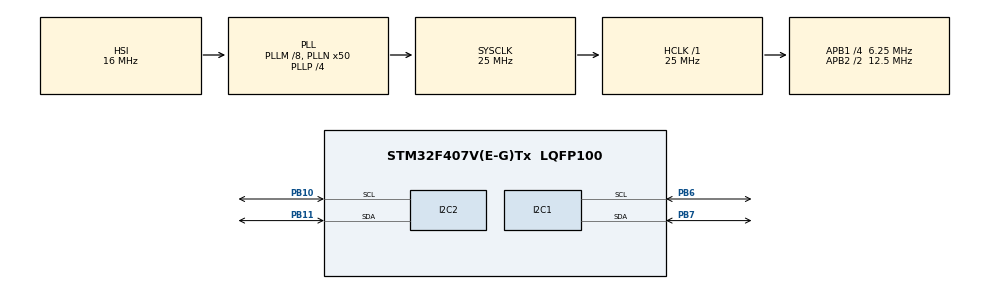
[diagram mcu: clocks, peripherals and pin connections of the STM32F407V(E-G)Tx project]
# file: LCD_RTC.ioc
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Mcu.Family=STM32F4
Mcu.Name=STM32F407V(E-G)Tx
Mcu.Package=LQFP100
NVIC.PriorityGroup=NVIC_PRIORITYGROUP_0
PB10.Mode=I2C
PB10.Signal=I2C2_SCL
PB11.Mode=I2C
PB11.Signal=I2C2_SDA
PB6.Mode=I2C
PB6.Signal=I2C1_SCL
PB7.Mode=I2C
PB7.Signal=I2C1_SDA
ProjectManager.HeapSize=0x200
ProjectManager.StackSize=0x400
ProjectManager.TargetToolchain=STM32CubeIDE
RCC.48MHZClocksFreq_Value=14285714.285714285
RCC.AHBFreq_Value=25000000
RCC.APB1CLKDivider=RCC_HCLK_DIV4
RCC.APB1Freq_Value=6250000
RCC.APB1TimFreq_Value=12500000
RCC.APB2CLKDivider=RCC_HCLK_DIV2
RCC.APB2Freq_Value=12500000
RCC.APB2TimFreq_Value=25000000
RCC.CortexFreq_Value=25000000
RCC.HCLKFreq_Value=25000000
RCC.HSE_VALUE=8000000
RCC.HSI_VALUE=16000000
RCC.LSE_VALUE=32768
RCC.PLLM=8
RCC.PLLN=50
RCC.PLLP=RCC_PLLP_DIV4
RCC.PLLQ=7
RCC.SYSCLKFreq_VALUE=25000000
RCC.SYSCLKSource=RCC_SYSCLKSOURCE_PLLCLK
RCC.VCOOutputFreq_Value=100000000
board=STM32F407G-DISC1

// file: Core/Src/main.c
/* USER CODE BEGIN Header */
/**
  ******************************************************************************
  * @file           : main.c
  * @brief          : Main program body
  ******************************************************************************
  * @attention
  *
  * Copyright (c) 2025 STMicroelectronics.
  * All rights reserved.
  *
  * This software is licensed under terms that can be found in the LICENSE file
  * in the root directory of this software component.
  * If no LICENSE file comes with this software, it is provided AS-IS.
  *
  ******************************************************************************
  */
/* USER CODE END Header */
#include "main.h"

/* USER CODE BEGIN Includes */
#include <stdbool.h>
/* USER CODE END Includes */

/* USER CODE BEGIN PD */
#define DS3231_ADDRESS 0xD0
/* USER CODE END PD */

I2C_HandleTypeDef hi2c1;
I2C_HandleTypeDef hi2c2;

/* USER CODE BEGIN PV */
int seconds,minutes,hour;
int flag = 1;
char array[3],array1[3],array2[3];
bool isTimerPrinted = false;
/* USER CODE END PV */

void SystemClock_Config(void);
static void MX_GPIO_Init(void);
static void MX_I2C1_Init(void);
static void MX_I2C2_Init(void);
/* USER CODE BEGIN PFP */
void cmd_i2c(uint8_t);
void data_i2c(uint8_t);
void data(char *);
void DS3231_GetRegByte();
/* USER CODE END PFP */

/* USER CODE BEGIN 0 */
void cmd_i2c(uint8_t cmd)
{
	uint8_t d1 = (cmd & 0xF0) | 0x0C;  // RS=0, RW=0, E=1
	uint8_t d2 = (cmd & 0xF0) | 0x08;  // RS=0, RW=0, E=0
	uint8_t Timeout = 100;

	HAL_I2C_Master_Transmit(&hi2c1, 0x4E, &d1, 1, Timeout);
	HAL_Delay(2);
	HAL_I2C_Master_Transmit(&hi2c1, 0x4E, &d2, 1, Timeout);

	uint8_t d3 = ((cmd << 4) & 0xF0) | 0x0C;  // RS=0, RW=0, E=1
	uint8_t d4 = ((cmd << 4) & 0xF0) | 0x08;  // RS=0, RW=0, E=0

	HAL_I2C_Master_Transmit(&hi2c1, 0x4E, &d3, 1, Timeout);
	HAL_Delay(2);
	HAL_I2C_Master_Transmit(&hi2c1, 0x4E, &d4, 1, Timeout);

}
void data_i2c( uint8_t data)
{
	uint8_t d1 = (data & 0xF0) | 0x0D;  // RS=1, RW=0, E=1
	uint8_t d2 = (data & 0xF0) | 0x09;  // RS=1, RW=0, E=0
	uint8_t Timeout = 100;

	HAL_I2C_Master_Transmit(&hi2c1, 0x4E, &d1, 1, Timeout);
	HAL_Delay(2);
	HAL_I2C_Master_Transmit(&hi2c1, 0x4E, &d2, 1, Timeout);

	uint8_t d3 = ((data << 4) & 0xF0) | 0x0D;  // RS=1, RW=0, E=1
	uint8_t d4 = ((data << 4) & 0xF0) | 0x09;  // RS=1, RW=0, E=0
	HAL_I2C_Master_Transmit(&hi2c1, 0x4E, &d3, 1, Timeout);
	HAL_Delay(2);
	HAL_I2C_Master_Transmit(&hi2c1, 0x4E, &d4, 1, Timeout);
}
void data(char *s)
{
	while(*s |= '\0')
	{

	    data_i2c(*s);
		s++;
	}
}
/* USER CODE END 0 */

int main(void)
{

  /* USER CODE BEGIN 1 */
	uint8_t decToBcd(int val)
	{
		return (uint8_t)( (val/10*16) + (val%10) );
    }
	// Convert binary coded decimal to normal decimal numbers
	int bcdToDec(uint8_t val)
	{
		 return (int)( (val/16*10) + (val%16) );
	}

	void Set_Time (uint8_t sec, uint8_t min, uint8_t hour)
	{
		uint8_t set_time[7];
		set_time[0] = decToBcd(sec);
		set_time[1] = decToBcd(min);
		set_time[2] = decToBcd(hour);
		HAL_I2C_Mem_Write(&hi2c2, DS3231_ADDRESS, 0x00, 1, set_time, 7, 100);
	}

	void Get_Time (void)
	{
		uint8_t get_time[3];
		HAL_I2C_Mem_Read(&hi2c2, DS3231_ADDRESS, 0x00, 1, get_time, 7, 100);
		seconds = bcdToDec(get_time[0]);
		minutes = bcdToDec(get_time[1]);
		hour = bcdToDec(get_time[2]);
	}
  /* USER CODE END 1 */

  /* MCU Configuration--------------------------------------------------------*/

  /* Reset of all peripherals, Initializes the Flash interface and the Systick. */
  HAL_Init();

  /* Configure the system clock */
  SystemClock_Config();

  /* Initialize all configured peripherals */
  MX_GPIO_Init();
  MX_I2C1_Init();
  MX_I2C2_Init();
  /* USER CODE BEGIN 2 */
  Set_Time(57, 41, 14);
  cmd_i2c(0x02);
  cmd_i2c(0x28);
  cmd_i2c(0x0E);
  cmd_i2c(0x01);
  cmd_i2c(0x80);
  //cmd_i2c(0xC0);
  /* USER CODE END 2 */

  /* Infinite loop */
  /* USER CODE BEGIN WHILE */
  while (1)
  {
	  Get_Time();
	  cmd_i2c(0x80);
	  array[0] = ((hour/10)+'0');
	  array[1] = ((hour%10)+'0');
	  array[2] = '\0';
	  data(array);
	  data(":");
	  array1[0] = ((minutes/10)+'0');
	  array1[1] = ((minutes%10)+'0');
	  array1[2] = '\0';
	  data(array1);
	  data(":");
	  array2[0] = ((seconds/10)+'0');
	  array2[1] = ((seconds%10)+'0');
	  array2[2] = '\0';
	  data(array2);
	  HAL_Delay(1000);
    /* USER CODE END WHILE */

    /* USER CODE BEGIN 3 */
  }
   //   /* USER CODE END 3 */
}

void SystemClock_Config(void)
{
  RCC_OscInitTypeDef RCC_OscInitStruct = {0};
  RCC_ClkInitTypeDef RCC_ClkInitStruct = {0};

  /** Configure the main internal regulator output voltage
  */
  __HAL_RCC_PWR_CLK_ENABLE();
  __HAL_PWR_VOLTAGESCALING_CONFIG(PWR_REGULATOR_VOLTAGE_SCALE1);

  /** Initializes the RCC Oscillators according to the specified parameters
  * in the RCC_OscInitTypeDef structure.
  */
  RCC_OscInitStruct.OscillatorType = RCC_OSCILLATORTYPE_HSI;
  RCC_OscInitStruct.HSIState = RCC_HSI_ON;
  RCC_OscInitStruct.HSICalibrationValue = RCC_HSICALIBRATION_DEFAULT;
  RCC_OscInitStruct.PLL.PLLState = RCC_PLL_ON;
  RCC_OscInitStruct.PLL.PLLSource = RCC_PLLSOURCE_HSI;
  RCC_OscInitStruct.PLL.PLLM = 8;
  RCC_OscInitStruct.PLL.PLLN = 50;
  RCC_OscInitStruct.PLL.PLLP = RCC_PLLP_DIV4;
  RCC_OscInitStruct.PLL.PLLQ = 7;
  if (HAL_RCC_OscConfig(&RCC_OscInitStruct) != HAL_OK)
  {
    Error_Handler();
  }

  /** Initializes the CPU, AHB and APB buses clocks
  */
  RCC_ClkInitStruct.ClockType = RCC_CLOCKTYPE_HCLK|RCC_CLOCKTYPE_SYSCLK
                              |RCC_CLOCKTYPE_PCLK1|RCC_CLOCKTYPE_PCLK2;
  RCC_ClkInitStruct.SYSCLKSource = RCC_SYSCLKSOURCE_PLLCLK;
  RCC_ClkInitStruct.AHBCLKDivider = RCC_SYSCLK_DIV1;
  RCC_ClkInitStruct.APB1CLKDivider = RCC_HCLK_DIV4;
  RCC_ClkInitStruct.APB2CLKDivider = RCC_HCLK_DIV2;

  if (HAL_RCC_ClockConfig(&RCC_ClkInitStruct, FLASH_LATENCY_0) != HAL_OK)
  {
    Error_Handler();
  }
}

static void MX_I2C1_Init(void)
{

  hi2c1.Instance = I2C1;
  hi2c1.Init.ClockSpeed = 100000;
  hi2c1.Init.DutyCycle = I2C_DUTYCYCLE_2;
  hi2c1.Init.OwnAddress1 = 0;
  hi2c1.Init.AddressingMode = I2C_ADDRESSINGMODE_7BIT;
  hi2c1.Init.DualAddressMode = I2C_DUALADDRESS_DISABLE;
  hi2c1.Init.OwnAddress2 = 0;
  hi2c1.Init.GeneralCallMode = I2C_GENERALCALL_DISABLE;
  hi2c1.Init.NoStretchMode = I2C_NOSTRETCH_DISABLE;
  if (HAL_I2C_Init(&hi2c1) != HAL_OK)
  {
    Error_Handler();
  }

}

static void MX_I2C2_Init(void)
{

  hi2c2.Instance = I2C2;
  hi2c2.Init.ClockSpeed = 100000;
  hi2c2.Init.DutyCycle = I2C_DUTYCYCLE_2;
  hi2c2.Init.OwnAddress1 = 0;
  hi2c2.Init.AddressingMode = I2C_ADDRESSINGMODE_7BIT;
  hi2c2.Init.DualAddressMode = I2C_DUALADDRESS_DISABLE;
  hi2c2.Init.OwnAddress2 = 0;
  hi2c2.Init.GeneralCallMode = I2C_GENERALCALL_DISABLE;
  hi2c2.Init.NoStretchMode = I2C_NOSTRETCH_DISABLE;
  if (HAL_I2C_Init(&hi2c2) != HAL_OK)
  {
    Error_Handler();
  }

}

static void MX_GPIO_Init(void)
{

  /* GPIO Ports Clock Enable */
  __HAL_RCC_GPIOB_CLK_ENABLE();

}

void Error_Handler(void)
{
  __disable_irq();
  while (1)
  {
  }
}
